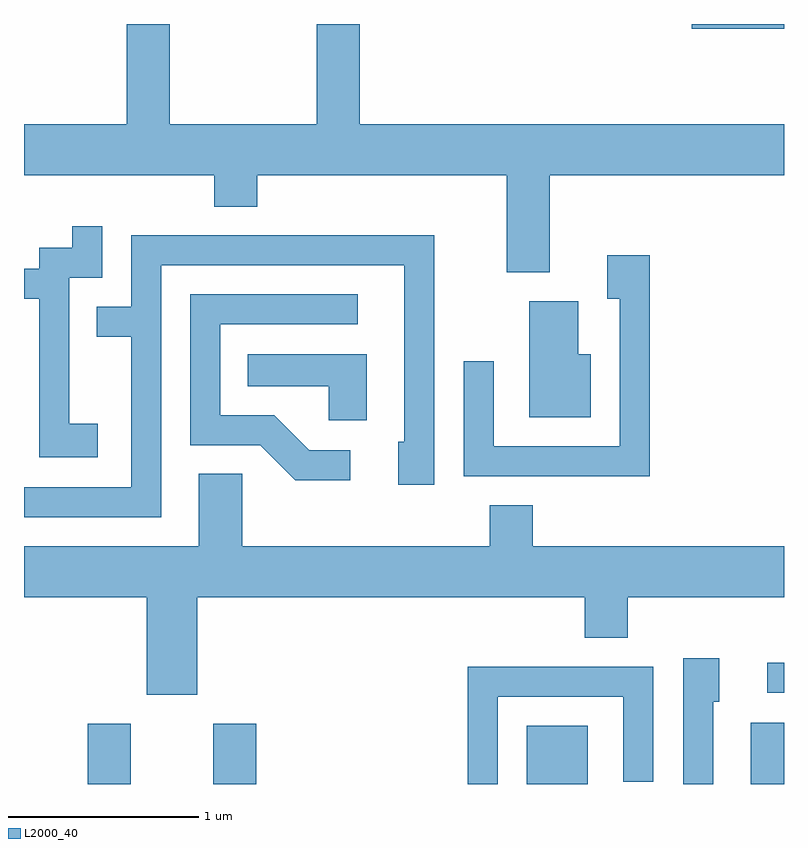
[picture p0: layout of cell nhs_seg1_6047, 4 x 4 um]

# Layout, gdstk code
import gdstk
lib = gdstk.Library(unit=1e-6, precision=1e-09)
def R(c, l, rs):  # rectangles x0, y0, x1, y1
    for r in rs: c.add(gdstk.rectangle(r[:2], r[2:], *l))
def P(c, l, *ps):  # polygons
    for p in ps: c.add(gdstk.Polygon(p, *l))
L2000_40 = (2000, 40)

nhs_seg1_6047 = lib.new_cell('nhs_seg1_6047')
R(nhs_seg1_6047, L2000_40, [(367.946,889.712,368.174,890.029), (368.606,889.712,368.834,890.029), (370.256,889.712,370.579,890.019), (371.436,889.712,371.611,890.034), (371.523,890.191,371.611,890.349), (371.126,893.686,371.611,893.712)])
P(nhs_seg1_6047, L2000_40, [(370.379,892.916),(371.611,892.916),(371.611,893.184),(369.379,893.184),(369.379,893.712),(369.151,893.712),(369.151,893.184),(368.379,893.184),(368.379,893.712),(368.151,893.712),(368.151,893.184),(367.611,893.184),(367.611,892.916),(368.611,892.916),(368.611,892.751),(368.839,892.751),(368.839,892.916),(370.151,892.916),(370.151,892.406),(370.379,892.406)],
  [(367.999,891.609),(367.849,891.609),(367.849,892.376),(368.024,892.376),(368.024,892.648),(367.866,892.648),(367.866,892.534),(367.691,892.534),(367.691,892.424),(367.611,892.424),(367.611,892.266),(367.691,892.266),(367.691,891.431),(367.999,891.431)],
  [(368.334,892.441),(369.611,892.441),(369.611,891.514),(369.581,891.514),(369.581,891.286),(369.769,891.286),(369.769,892.599),(368.176,892.599),(368.176,892.224),(367.993,892.224),(367.993,892.066),(368.176,892.066),(368.176,891.274),(367.611,891.274),(367.611,891.116),(368.334,891.116)],
  [(370.904,892.494),(370.681,892.494),(370.681,892.266),(370.746,892.266),(370.746,891.489),(370.084,891.489),(370.084,891.938),(369.926,891.938),(369.926,891.331),(370.904,891.331)],
  [(369.328,891.469),(369.112,891.469),(368.927,891.654),(368.644,891.654),(368.644,892.131),(369.368,892.131),(369.368,892.289),(368.486,892.289),(368.486,891.496),(368.854,891.496),(369.039,891.311),(369.328,891.311)],
  [(370.594,891.974),(370.529,891.974),(370.529,892.254),(370.271,892.254),(370.271,891.641),(370.594,891.641)],
  [(369.414,891.974),(368.788,891.974),(368.788,891.806),(369.216,891.806),(369.216,891.626),(369.414,891.626)],
  [(370.289,891.179),(370.061,891.179),(370.061,890.964),(368.759,890.964),(368.759,891.344),(368.531,891.344),(368.531,890.964),(367.611,890.964),(367.611,890.696),(368.256,890.696),(368.256,890.181),(368.524,890.181),(368.524,890.696),(370.561,890.696),(370.561,890.481),(370.789,890.481),(370.789,890.696),(371.611,890.696),(371.611,890.964),(370.289,890.964)],
  [(371.239,890.146),(371.269,890.146),(371.269,890.374),(371.081,890.374),(371.081,889.712),(371.239,889.712)],
  [(370.104,890.171),(370.766,890.171),(370.766,889.723),(370.924,889.723),(370.924,890.329),(369.946,890.329),(369.946,889.712),(370.104,889.712)])

lib.write_gds('nhs_seg1_6047.gds')
